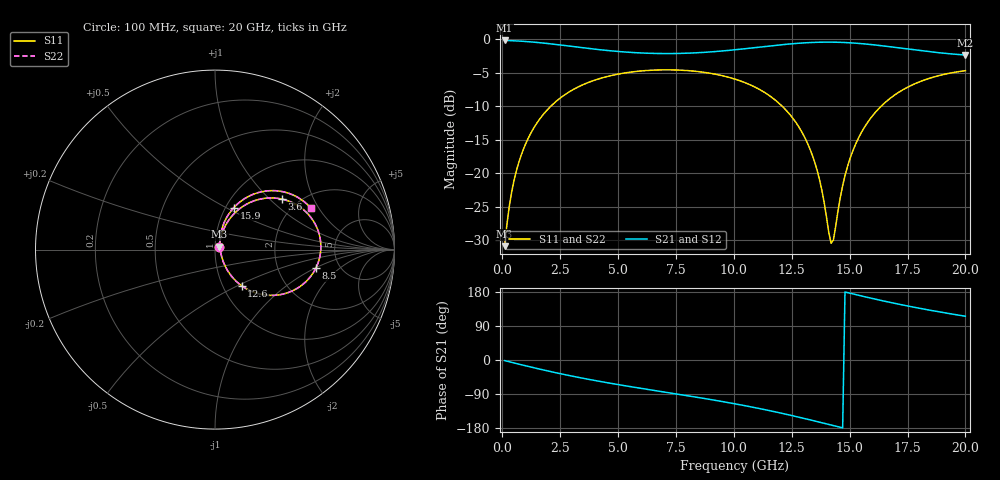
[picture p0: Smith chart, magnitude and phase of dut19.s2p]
! Touchstone file exported from HFSS 2026.1.0
!  File:  C:/ffzhzh/LocalFiles/Ansys_Project_Files/temp_train_TSV_RDL_19_1782962422_45568.aedt
!  Generated:  11:30:08 AM Jul  2, 2026
!  Design:  TSV_RDL
!  Project:  temp_train_TSV_RDL_19_1782962422_45568
! Variables:
!  h_bsmrdl = 3.11um
!  h_ox = 20um
!  h_rdl = 5um
!  h_sub = 62.42um
!  h_tmrdl = 4.54um
!  h_tsv = 62.42um
!  h_via = 3um
!  l_bsmrdl = 138.82um
!  l_sub = 4106.26um
!  l_tmrdl = 793.92um
!  m_sub = 200um
!  pitch = 46um
!  r_tsv = 10.27um
!  s_tmrdl = 10um
!  w_bsmrdl = 25.86um
!  w_sub = 500um
!  w_tmrdl = 12.18um
!  x_tsv_center1 = 800.01um
!  x_tsv_center2 = 964.69um
!  x_tsv_center3 = 1770.79um
!  x_tsv_center4 = 1935.47um
!  x_tsv_center5 = 2741.57um
!  x_tsv_center6 = 2906.25um
# GHz S MA R 50.000000
! Terminal data exported
! Port[1] = TM_RDL1_1_T1
! Port[2] = TM_RDL5_1_T1
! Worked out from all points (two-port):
!   200 points, 100 MHz to 20 GHz, reference 50 ohm
!   highest |S21| = -0.20 dB at 100 MHz (marker M1); lowest = -2.4 dB at 20 GHz (marker M2)
!   |S21| within 3 dB of the highest: start of sweep to end of sweep
!   lowest |S11| = -30.9 dB at 100 MHz (marker M3), VSWR 1.06, Z = 52.4 + j1.75 ohm
!   |S11| at or under -10 dB: start of sweep to 2.096 GHz; 12.09 GHz to 16.36 GHz (4.275 GHz wide, 30.1 % of centre)
!   |S22| runs from -30.9 to -4.6 dB; largest |S21 - S12| = 1.7e-14
!   S11 on the Smith chart (normalised r, x): 100 MHz: 1.05, +0.04; 3.6 GHz: 1.65, +1.19; 8.5 GHz: 3.33, -1.02; 12.6 GHz: 1.22, -0.53; 15.9 GHz: 1.09, +0.55; 20 GHz: 2.44, +1.71
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0.1  0.02864 35.7  0.9771 -1.6  0.9771 -1.6  0.02864 35.7
! Gamma 0 0 0 0
! Port Impedance 50 0 50 0
0.3  0.05643 60.4  0.9749 -4.7  0.9749 -4.7  0.05643 60.4
0.5  0.08739 65.9  0.9716 -7.7  0.9716 -7.7  0.08739 65.9
1.1  0.1795 65.0  0.9575 -16.6  0.9575 -16.6  0.1795 65.0
2.1  0.3168 54.4  0.9215 -30.7  0.9215 -30.7  0.3168 54.4
3.5  0.4587 38.2  0.8611 -48.4  0.8611 -48.4  0.4587 38.2
3.6  0.4665 37.1  0.857 -49.6  0.857 -49.6  0.4665 37.1
6.8  0.5894 5.5  0.7808 -82.7  0.7808 -82.7  0.5894 5.5
8.5  0.5716 -10.3  0.7925 -99.3  0.7925 -99.3  0.5716 -10.4
10.1  0.5001 -26.2  0.8345 -116.2  0.8345 -116.2  0.5001 -26.3
11.5  0.3828 -41.5  0.8869 -133.1  0.8869 -133.1  0.3828 -41.6
12.6  0.2502 -53.6  0.9258 -147.9  0.9258 -147.9  0.2501 -53.7
13.4  0.1348 -58.9  0.9443 -159.5  0.9443 -159.5  0.1347 -59.1
13.8  0.07494 -54.1  0.9487 -165.5  0.9487 -165.5  0.07478 -54.4
14.2  0.0301 -2.4  0.9493 -171.5  0.9493 -171.5  0.02965 -2.5
14.3  0.03182 26.1  0.9489 -173.0  0.9489 -173.0  0.03138 26.4
14.7  0.08101 67.9  0.9446 -179.0  0.9446 -179.0  0.08082 68.2
15  0.1261 71.4  0.939 176.5  0.939 176.5  0.1259 71.6
15.9  0.2563 65.8  0.9117 163.5  0.9117 163.5  0.2563 65.9
16.7  0.3563 57.2  0.879 152.6  0.879 152.6  0.3562 57.2
18.2  0.4938 40.9  0.8152 134.4  0.8152 134.4  0.4937 41.0
20  0.5815 23.4  0.7613 115.5  0.7613 115.5  0.5815 23.5
